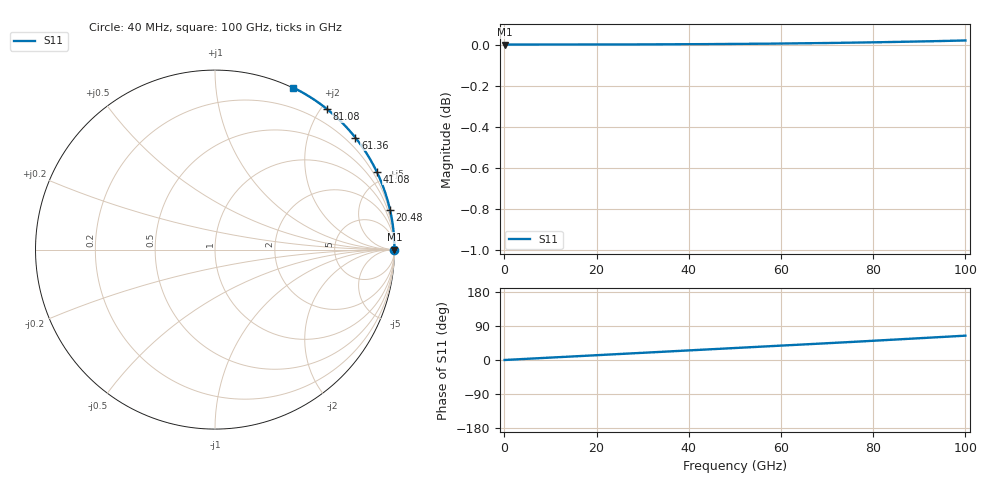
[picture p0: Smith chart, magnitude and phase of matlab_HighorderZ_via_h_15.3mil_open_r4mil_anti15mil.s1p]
#  GHz  S  RI  R  50
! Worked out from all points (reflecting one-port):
!   2500 points, 40 MHz to 100 GHz, reference 50 ohm
!   lowest |S11| = 0.0 dB at 40 MHz (marker M1)
!   phase of S11 starts at 0 deg and turns +64 deg over the sweep
!   S11 on the Smith chart (normalised r, x): 40 MHz: open; 20.48 GHz: -0.00, +8.85; 41.08 GHz: -0.00, +4.38; 61.36 GHz: -0.00, +2.86; 81.08 GHz: -0.00, +2.08; 100 GHz: -0.00, +1.59
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0.04  1 0.000475
0.48  1 0.00553
6.28  0.9976 0.0699
9.4  0.9946 0.104
12.56  0.9904 0.1382
16.52  0.9835 0.1808
20.48  0.9748 0.223
25.04  0.9626 0.2711
28.16  0.9529 0.3036
31.28  0.942 0.3357
34.4  0.9301 0.3676
37.56  0.9169 0.3994
41.08  0.9009 0.4344
45.56  0.8786 0.4781
50.04  0.854 0.5209
55.68  0.82 0.5732
61.36  0.7822 0.624
62.52  0.7741 0.6341
65.64  0.7514 0.6609
68.76  0.7278 0.687
75.04  0.6771 0.7373
81.08  0.6244 0.7827
84.28  0.595 0.8055
87.52  0.5642 0.8276
90.96  0.5303 0.8499
94.36  0.4956 0.8708
99.56  0.4404 0.9003
100  0.4356 0.9027
